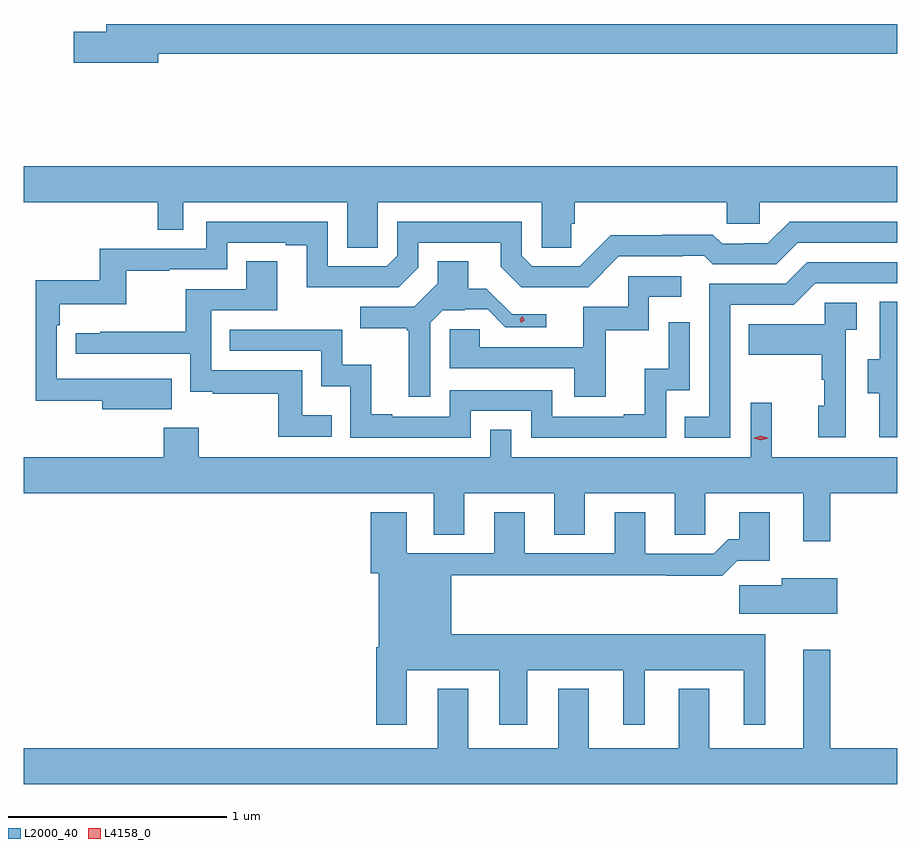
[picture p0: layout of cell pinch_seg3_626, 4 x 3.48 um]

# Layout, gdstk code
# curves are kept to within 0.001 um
import gdstk
lib = gdstk.Library(unit=1e-6, precision=1e-09)
def P(c, l, *ps):  # polygons
    for p in ps: c.add(gdstk.Polygon(p, *l))
L2000_40 = (2000, 40)
L4158_0 = (4158, 0)

pinch_seg3_626 = lib.new_cell('pinch_seg3_626')
P(pinch_seg3_626, L2000_40, [(1046.842,674.956),(1050.225,674.956),(1050.225,675.092),(1046.603,675.092),(1046.603,675.056),(1046.454,675.056),(1046.454,674.914),(1046.842,674.914)],
  [(1046.225,674.276),(1046.839,674.276),(1046.839,674.149),(1046.955,674.149),(1046.955,674.276),(1047.707,674.276),(1047.707,674.068),(1047.846,674.068),(1047.846,674.276),(1048.596,674.276),(1048.596,674.068),(1048.733,674.068),(1048.733,674.178),(1048.748,674.178),(1048.748,674.276),(1049.445,674.276),(1049.445,674.178),(1049.595,674.178),(1049.595,674.276),(1050.225,674.276),(1050.225,674.44),(1046.225,674.44)],
  [(1046.903,673.468),(1046.376,673.467),(1046.376,673.712),(1046.39,673.712),(1046.39,673.808),(1046.695,673.808),(1046.695,673.963),(1046.891,673.963),(1046.891,673.968),(1047.156,673.968),(1047.156,674.091),(1047.425,674.091),(1047.425,674.079),(1047.521,674.079),(1047.521,673.886),(1047.942,673.887),(1048.032,673.977),(1048.032,674.091),(1048.409,674.091),(1048.409,673.981),(1048.504,673.886),(1048.809,673.887),(1048.95,674.028),(1049.243,674.028),(1049.243,674.031),(1049.342,674.031),(1049.381,673.992),(1049.67,673.992),(1049.769,674.091),(1050.225,674.091),(1050.225,674.187),(1049.732,674.187),(1049.633,674.088),(1049.526,674.088),(1049.526,674.085),(1049.423,674.085),(1049.381,674.128),(1049.148,674.128),(1049.148,674.125),(1048.912,674.125),(1048.77,673.983),(1048.554,673.983),(1048.506,674.031),(1048.506,674.187),(1047.936,674.187),(1047.936,674.031),(1047.888,673.983),(1047.618,673.983),(1047.618,674.187),(1047.06,674.187),(1047.06,674.064),(1046.574,674.064),(1046.574,673.918),(1046.28,673.918),(1046.28,673.366),(1046.585,673.366),(1046.585,673.328),(1046.903,673.328)],
  [(1047.635,673.3),(1047.501,673.3),(1047.501,673.506),(1047.084,673.506),(1047.084,673.782),(1047.385,673.782),(1047.385,674.006),(1047.245,674.006),(1047.245,673.878),(1046.968,673.878),(1046.968,673.682),(1046.575,673.682),(1046.575,673.677),(1046.463,673.677),(1046.463,673.581),(1046.988,673.581),(1046.988,673.409),(1047.091,673.409),(1047.091,673.398),(1047.39,673.398),(1047.39,673.203),(1047.635,673.203)],
  [(1048.086,673.725),(1048.143,673.782),(1048.245,673.782),(1048.245,673.785),(1048.35,673.785),(1048.431,673.704),(1048.618,673.704),(1048.618,673.762),(1048.461,673.762),(1048.344,673.879),(1048.261,673.879),(1048.261,674.006),(1048.121,674.006),(1048.121,673.904),(1048.014,673.797),(1047.765,673.797),(1047.765,673.7),(1047.978,673.7),(1047.978,673.689),(1047.989,673.689),(1047.989,673.386),(1048.086,673.386)],
  [(1049.46,673.806),(1049.751,673.806),(1049.85,673.905),(1050.225,673.905),(1050.225,674.001),(1049.813,674.001),(1049.714,673.902),(1049.364,673.902),(1049.364,673.293),(1049.251,673.293),(1049.251,673.197),(1049.46,673.197)],
  [(1048.889,673.689),(1049.088,673.689),(1049.088,673.842),(1049.236,673.842),(1049.236,673.938),(1048.992,673.938),(1048.992,673.797),(1048.787,673.797),(1048.787,673.611),(1048.314,673.611),(1048.314,673.694),(1048.176,673.694),(1048.176,673.515),(1048.745,673.515),(1048.745,673.386),(1048.889,673.386)],
  [(1050.225,673.82),(1050.144,673.82),(1050.144,673.557),(1050.089,673.557),(1050.089,673.402),(1050.143,673.402),(1050.143,673.2),(1050.225,673.2)],
  [(1049.988,673.691),(1050.04,673.691),(1050.04,673.815),(1049.892,673.815),(1049.892,673.717),(1049.545,673.717),(1049.545,673.577),(1049.88,673.577),(1049.88,673.463),(1049.89,673.463),(1049.89,673.344),(1049.864,673.344),(1049.864,673.2),(1049.988,673.2)],
  [(1048.272,673.32),(1048.548,673.32),(1048.548,673.197),(1049.166,673.197),(1049.166,673.416),(1049.274,673.416),(1049.274,673.726),(1049.178,673.726),(1049.178,673.514),(1049.069,673.514),(1049.069,673.306),(1048.973,673.306),(1048.973,673.293),(1048.644,673.293),(1048.644,673.416),(1048.176,673.416),(1048.176,673.293),(1047.913,673.293),(1047.913,673.306),(1047.817,673.306),(1047.817,673.531),(1047.684,673.531),(1047.684,673.692),(1047.169,673.692),(1047.169,673.596),(1047.588,673.596),(1047.588,673.433),(1047.72,673.433),(1047.72,673.197),(1048.272,673.197)],
  [(1049.917,672.944),(1050.225,672.944),(1050.225,673.108),(1049.651,673.108),(1049.651,673.357),(1049.553,673.357),(1049.553,673.108),(1048.458,673.108),(1048.458,673.235),(1048.362,673.235),(1048.362,673.108),(1047.027,673.108),(1047.027,673.243),(1046.867,673.243),(1046.867,673.108),(1046.225,673.108),(1046.225,672.944),(1048.103,672.944),(1048.103,672.754),(1048.243,672.754),(1048.243,672.944),(1048.655,672.944),(1048.655,672.754),(1048.795,672.754),(1048.795,672.944),(1049.207,672.944),(1049.207,672.754),(1049.346,672.754),(1049.346,672.944),(1049.795,672.944),(1049.795,672.723),(1049.917,672.723)],
  [(1047.979,672.134),(1048.403,672.134),(1048.403,671.883),(1048.531,671.883),(1048.531,672.134),(1048.97,672.134),(1048.97,671.883),(1049.068,671.883),(1049.068,672.134),(1049.522,672.134),(1049.522,671.883),(1049.62,671.883),(1049.62,672.298),(1048.183,672.298),(1048.183,672.568),(1049.167,672.568),(1049.167,672.566),(1049.423,672.566),(1049.492,672.635),(1049.641,672.635),(1049.641,672.856),(1049.501,672.856),(1049.501,672.733),(1049.452,672.733),(1049.385,672.666),(1049.071,672.666),(1049.071,672.856),(1048.931,672.856),(1048.931,672.669),(1048.519,672.669),(1048.519,672.856),(1048.379,672.856),(1048.379,672.669),(1047.979,672.669),(1047.979,672.856),(1047.815,672.856),(1047.815,672.576),(1047.851,672.576),(1047.851,672.238),(1047.839,672.238),(1047.839,671.883),(1047.979,671.883)],
  [(1049.95,672.553),(1049.696,672.553),(1049.696,672.521),(1049.502,672.521),(1049.502,672.392),(1049.95,672.392)],
  [(1050.225,671.776),(1049.917,671.776),(1049.917,672.226),(1049.795,672.226),(1049.795,671.776),(1049.365,671.776),(1049.365,672.049),(1049.225,672.049),(1049.225,671.776),(1048.813,671.776),(1048.813,672.049),(1048.673,672.049),(1048.673,671.776),(1048.261,671.776),(1048.261,672.049),(1048.121,672.049),(1048.121,671.776),(1046.225,671.776),(1046.225,671.612),(1050.225,671.612)])
P(pinch_seg3_626, L4158_0, [(1049.6,673.186),(1049.565,673.195),(1049.565,673.195),(1049.565,673.196),(1049.6,673.206),(1049.636,673.196),(1049.636,673.196),(1049.636,673.196)],
  [(1048.503,673.724),(1048.503,673.725),(1048.496,673.74),(1048.508,673.751),(1048.508,673.751),(1048.509,673.751),(1048.516,673.736),(1048.504,673.725)])

lib.write_gds('pinch_seg3_626.gds')
